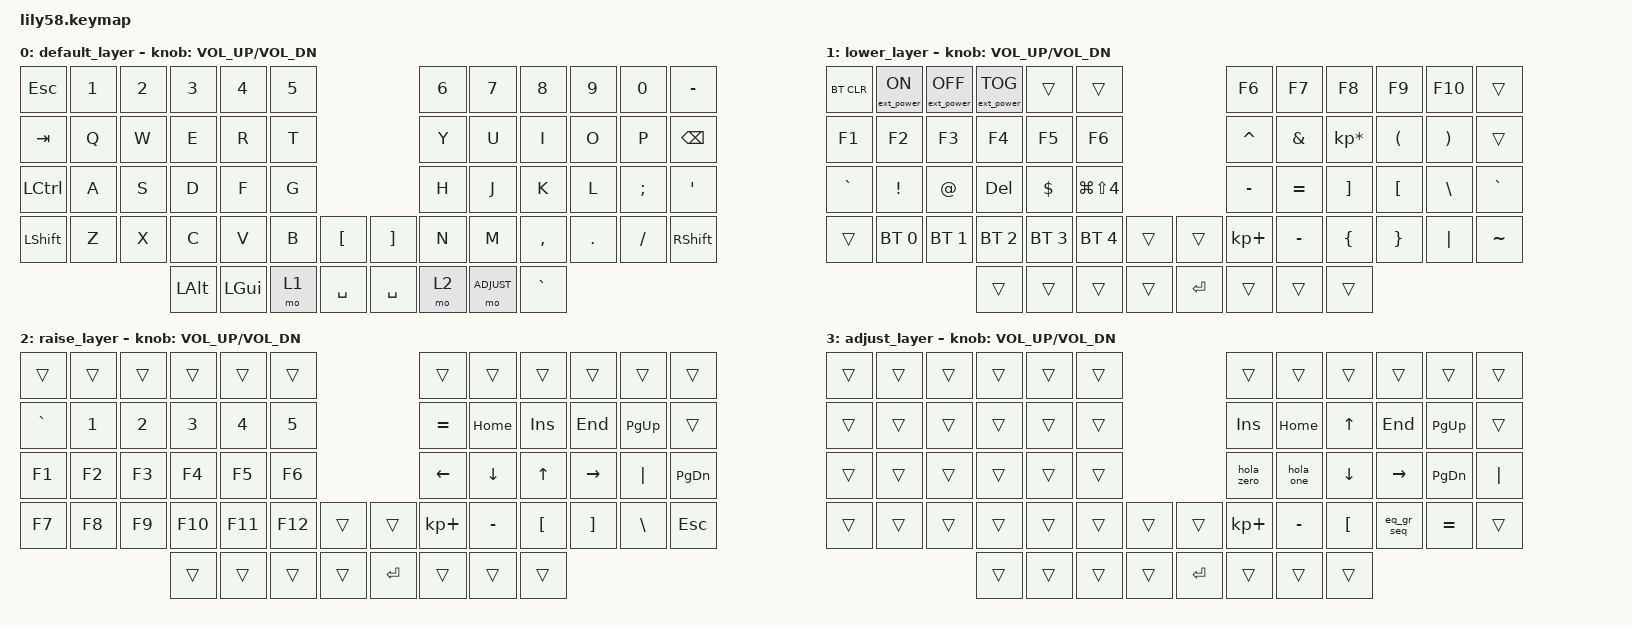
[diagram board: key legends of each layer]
/*
 * Copyright (c) 2020 The ZMK Contributors
 *
 * SPDX-License-Identifier: MIT
 */

#include <behaviors.dtsi>
#include <dt-bindings/zmk/keys.h>
#include <dt-bindings/zmk/bt.h>
#include <dt-bindings/zmk/ext_power.h>

#define ADJUST 3

/ {
    macros {
        ZMK_MACRO(hola_zero,
            wait-ms = <1>;
            tap-ms = <1>;
            bindings = <&kp EXCL &kp (LS(H)) &kp O &kp L &kp A>;
        )
        ZMK_MACRO(hola_one,
            wait-ms = <1>;
            tap-ms = <1>;
            bindings = <&kp EXCL &kp (LS(J)) &kp U>;
        )
         ZMK_MACRO(eq_gr_seq,
            wait-ms = <1>;
            tap-ms = <1>;
            bindings = <&kp EQUAL &kp (LS(DOT))>;
        )
    };

    keymap {
        compatible = "zmk,keymap";

        default_layer {
// ------------------------------------------------------------------------------------------------------------
// |  ESC  |  1  |  2  |  3   |  4   |  5   |                   |  6   |  7    |  8    |  9   |   0   |   -   |
// |  TAB  |  Q  |  W  |  E   |  R   |  T   |                   |  Y   |  U    |  I    |  O   |   P   | BSPC  |
// |  CTRL |  A  |  S  |  D   |  F   |  G   |                   |  H   |  J    |  K    |  L   |   ;   |   '   |
// | SHIFT |  Z  |  X  |  C   |  V   |  B   |   "["  |  |  "]"  |  N   |  M    |  ,    |  .   |   /   | SHIFT |
//                     | ALT  | GUI  | LOWER|  SPACE |  | ENTER | RAISE| ADJUST|  `~   |
            bindings = <
&kp ESC   &kp N1 &kp N2 &kp N3   &kp N4   &kp N5                      &kp N6 &kp N7   &kp N8    &kp N9  &kp N0   &kp MINUS
&kp TAB   &kp Q  &kp W  &kp E    &kp R    &kp T                       &kp Y  &kp U    &kp I     &kp O   &kp P    &kp BSPC
&kp LCTRL &kp A  &kp S  &kp D    &kp F    &kp G                       &kp H  &kp J    &kp K     &kp L   &kp SEMI &kp SQT
&kp LSHFT &kp Z  &kp X  &kp C    &kp V    &kp B  &kp LBKT   &kp RBKT  &kp N  &kp M    &kp COMMA &kp DOT &kp FSLH &kp RSHFT
                        &kp LALT &kp LGUI &mo 1  &kp SPACE  &kp SPACE &mo 2  &mo ADJUST &kp GRAVE 
            >;

            sensor-bindings = <&inc_dec_kp C_VOL_UP C_VOL_DN>;
        };

        lower_layer {
// ------------------------------------------------------------------------------------------------------------
// | BTCLR | BT1 | BT2 |  BT3 |  BT4 |  BT5 |                   |  F6  |       |       |      |   F10 |       |
// |  F1   |  F2 |  F3 |  F4  |  F5  |  F6  |                   |  ^   |  &    |  *    |  (   |   )   |  BPSC |
// |   `   |  !  |  @  |  DEL |  $   |  %   |                   |  -   |  =    |  [    |  ]   |   \   |   `   |
// |       |     |     |      |      |      |        |  |       |  -   |  +    |  {    |  }   |   "|" |   ~   |
//                     |      |      |      |        |  |       |      |       |       |
            bindings = <
&bt BT_CLR &ext_power EP_ON &ext_power EP_OFF &ext_power EP_TOG &trans       &trans                          &kp F6    &kp F7      &kp F8          &kp F9    &kp F10   &trans
&kp F1     &kp F2           &kp F3            &kp F4            &kp F5       &kp F6                          &kp CARET &kp AMPS    &kp KP_MULTIPLY &kp LPAR  &kp RPAR  &trans
&kp GRAVE  &kp EXCL         &kp AT            &kp DEL            &kp DOLLAR   &kp LG(LS(N4))                 &kp MINUS &kp EQUAL   &kp RBKT        &kp LBKT  &kp BSLH  &kp GRAVE
&trans     &bt BT_SEL 0     &bt BT_SEL 1      &bt BT_SEL 2      &bt BT_SEL 3 &bt BT_SEL 4 &trans   &trans    &kp KP_PLUS &kp MINUS &kp LBRC        &kp RBRC  &kp PIPE  &kp TILDE
                                              &trans            &trans       &trans       &trans   &kp RET   &trans    &trans      &trans
            >;

            sensor-bindings = <&inc_dec_kp C_VOL_UP C_VOL_DN>; 
        };

        raise_layer {
// ------------------------------------------------------------------------------------------------------------
// |       |     |     |      |      |      |                   |      |       |       |      |       |       |
// |   `   |  1  |  2  |  3   |  4   |  5   |                   |EQUAL | HOME  |  INS  |  9   | PGUP  |       |
// |   F1  |  F2 |  F3 |  F4  |  F5  |  F6  |                   |  LEFT| down  |   up  |  ->  |  |    | PGDN  |
// |   F7  |  F8 |  F9 |  F10 |  F11 |  F12 |        |  |       |  +   |   -   |   [   |  ]   |   =   |  ESC  |
//                     |      |      |      |        |  |       |      |       |       |
            bindings = <
&trans    &trans &trans &trans  &trans  &trans                       &trans      &trans   &trans    &trans    &trans    &trans
&kp GRAVE &kp N1 &kp N2 &kp N3  &kp N4  &kp N5                       &kp EQUAL   &kp HOME &kp INS    &kp END   &kp PG_UP &trans
&kp F1    &kp F2 &kp F3 &kp F4  &kp F5  &kp F6                       &kp LEFT    &kp DOWN &kp UP  &kp RIGHT &kp PIPE &kp PG_DN
&kp F7    &kp F8 &kp F9 &kp F10 &kp F11 &kp F12   &trans   &trans    &kp KP_PLUS &kp MINUS &kp LBKT &kp RBKT  &kp BSLH  &kp ESC
                        &trans  &trans  &trans    &trans   &kp RET    &trans      &trans    &trans
            >;

            sensor-bindings = <&inc_dec_kp C_VOL_UP C_VOL_DN>;
        };

        adjust_layer {
// ------------------------------------------------------------------------------------------------------------
// |       |     |     |      |      |      |                   |      |       |       |      |       |       |
// |   `   |  1  |  2  |  3   |  4   |  5   |                   |  INS | HOME  |   up  |  END | PGUP  |       |
// |   F1  |  F2 |  F3 |  F4  |  F5  |  F6  |                   |  DEL |   <-  | down  |  ->  |  PGDN |    |  |
// |   F7  |  F8 |  F9 |  F10 |  F11 |  F12 |        |  |       |  +   |   -   |   [   |  =>  |   =   |  ESC  |
//                     |      |      |      |        |  |       |      |       |       |
            bindings = <
&trans    &trans &trans &trans  &trans  &trans                       &trans      &trans    &trans    &trans    &trans    &trans
&trans    &trans &trans &trans  &trans  &trans                       &kp INS      &kp HOME &kp UP    &kp END   &kp PG_UP &trans
&trans    &trans &trans &trans  &trans  &trans                       &hola_zero  &hola_one &kp DOWN  &kp RIGHT &kp PG_DN &kp PIPE
&trans    &trans &trans &trans  &trans  &trans   &trans   &trans     &kp KP_PLUS &kp MINUS &kp LBKT  &eq_gr_seq  &kp EQUAL   &trans
                        &trans  &trans  &trans    &trans   &kp RET   &trans      &trans    &trans
            >;

            sensor-bindings = <&inc_dec_kp C_VOL_UP C_VOL_DN>;
        };
    };
};
